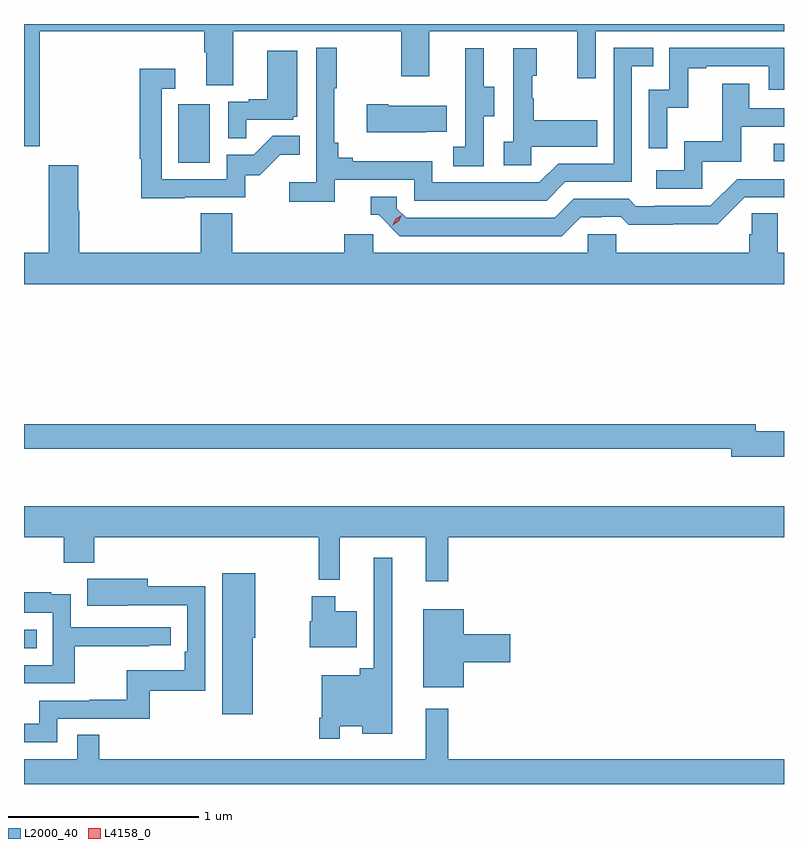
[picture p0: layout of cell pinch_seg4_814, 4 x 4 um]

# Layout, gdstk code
import gdstk
lib = gdstk.Library(unit=1e-6, precision=1e-09)
def R(c, l, rs):  # rectangles x0, y0, x1, y1
    for r in rs: c.add(gdstk.rectangle(r[:2], r[2:], *l))
def P(c, l, *ps):  # polygons
    for p in ps: c.add(gdstk.Polygon(p, *l))
L2000_40 = (2000, 40)
L4158_0 = (4158, 0)

pinch_seg4_814 = lib.new_cell('pinch_seg4_814')
R(pinch_seg4_814, L2000_40, [(803.423,802.896,803.489,802.992), (804.236,805.452,804.4,805.759), (807.369,805.458,807.423,805.551)])
P(pinch_seg4_814, L2000_40, [(803.506,806.144),(804.371,806.144),(804.371,806.032),(804.383,806.032),(804.383,805.858),(804.523,805.858),(804.523,806.144),(805.408,806.144),(805.408,805.905),(805.555,805.905),(805.555,806.144),(806.336,806.144),(806.336,805.896),(806.433,805.896),(806.433,806.144),(807.423,806.144),(807.423,806.181),(803.423,806.181),(803.423,805.538),(803.506,805.538)],
  [(805.058,805.362),(805.476,805.362),(805.476,805.251),(806.173,805.251),(806.272,805.35),(806.622,805.35),(806.622,805.959),(806.735,805.959),(806.735,806.055),(806.526,806.055),(806.526,805.446),(806.235,805.446),(806.136,805.347),(805.572,805.347),(805.572,805.459),(805.153,805.459),(805.153,805.478),(805.076,805.478),(805.076,805.555),(805.057,805.555),(805.057,805.843),(805.069,805.843),(805.069,806.056),(804.96,806.056),(804.96,805.348),(804.819,805.348),(804.819,805.246),(805.058,805.246)],
  [(806.808,805.739),(806.918,805.739),(806.918,805.947),(807.013,805.947),(807.013,805.959),(807.342,805.959),(807.342,805.836),(807.423,805.836),(807.423,806.055),(806.82,806.055),(806.82,805.836),(806.712,805.836),(806.712,805.527),(806.808,805.527)],
  [(806.094,805.535),(806.441,805.535),(806.441,805.675),(806.107,805.675),(806.107,805.79),(806.097,805.79),(806.097,805.908),(806.122,805.908),(806.122,806.053),(805.998,806.053),(805.998,805.562),(805.947,805.562),(805.947,805.437),(806.094,805.437)],
  [(805.842,805.696),(805.897,805.696),(805.897,805.851),(805.843,805.851),(805.843,806.053),(805.745,806.053),(805.745,805.839),(805.746,805.839),(805.746,805.535),(805.683,805.535),(805.683,805.432),(805.842,805.432)],
  [(804.593,805.677),(804.84,805.677),(804.84,805.692),(804.862,805.692),(804.862,806.041),(804.704,806.041),(804.704,805.786),(804.605,805.786),(804.605,805.773),(804.498,805.773),(804.498,805.579),(804.593,805.579)],
  [(804.269,805.269),(804.588,805.269),(804.588,805.386),(804.664,805.386),(804.771,805.493),(804.875,805.493),(804.875,805.592),(804.731,805.592),(804.633,805.494),(804.489,805.494),(804.489,805.365),(804.147,805.365),(804.147,805.839),(804.22,805.839),(804.22,805.945),(804.031,805.945),(804.031,805.472),(804.039,805.472),(804.039,805.264),(804.269,805.264)],
  [(806.994,805.455),(807.199,805.455),(807.199,805.641),(807.423,805.641),(807.423,805.737),(807.241,805.737),(807.241,805.867),(807.097,805.867),(807.097,805.564),(806.898,805.564),(806.898,805.41),(806.751,805.41),(806.751,805.314),(806.994,805.314)],
  [(805.541,805.613),(805.649,805.613),(805.649,805.75),(805.339,805.75),(805.339,805.758),(805.227,805.758),(805.227,805.61),(805.541,805.61)],
  [(807.423,804.976),(807.39,804.976),(807.39,805.184),(807.253,805.184),(807.253,805.074),(807.239,805.074),(807.239,804.976),(806.541,804.976),(806.541,805.074),(806.391,805.074),(806.391,804.976),(805.26,804.976),(805.26,805.074),(805.109,805.074),(805.109,804.976),(804.518,804.976),(804.518,805.184),(804.353,805.184),(804.353,804.976),(803.714,804.976),(803.714,805.199),(803.709,805.199),(803.709,805.438),(803.554,805.438),(803.554,804.976),(803.423,804.976),(803.423,804.812),(807.423,804.812)],
  [(806.353,805.164),(806.46,805.164),(806.46,805.167),(806.563,805.167),(806.605,805.125),(806.838,805.125),(806.838,805.127),(807.074,805.127),(807.216,805.269),(807.423,805.269),(807.423,805.365),(807.177,805.365),(807.036,805.224),(806.743,805.224),(806.743,805.221),(806.644,805.221),(806.605,805.26),(806.316,805.26),(806.217,805.161),(805.434,805.161),(805.386,805.209),(805.386,805.272),(805.247,805.272),(805.247,805.176),(805.29,805.176),(805.401,805.065),(806.254,805.065)],
  [(807.423,804.038),(807.274,804.038),(807.274,804.074),(803.423,804.074),(803.423,803.946),(807.146,803.946),(807.146,803.903),(807.423,803.903)],
  [(805.655,803.48),(807.423,803.48),(807.423,803.644),(803.423,803.644),(803.423,803.48),(803.632,803.48),(803.632,803.345),(803.792,803.345),(803.792,803.48),(804.975,803.48),(804.975,803.255),(805.085,803.255),(805.085,803.48),(805.538,803.48),(805.538,803.247),(805.655,803.247)],
  [(805.086,802.484),(805.202,802.484),(805.202,802.445),(805.36,802.445),(805.36,803.371),(805.263,803.371),(805.263,802.789),(805.19,802.789),(805.19,802.753),(804.99,802.753),(804.99,802.531),(804.978,802.531),(804.978,802.419),(805.086,802.419)],
  [(804.628,802.95),(804.64,802.95),(804.64,803.29),(804.467,803.29),(804.467,802.548),(804.628,802.548)],
  [(803.598,802.524),(804.085,802.524),(804.085,802.671),(804.378,802.671),(804.378,803.222),(804.073,803.222),(804.073,803.26),(803.755,803.26),(803.755,803.12),(803.969,803.12),(803.969,803.121),(804.282,803.121),(804.282,802.876),(804.269,802.876),(804.269,802.78),(803.964,802.78),(803.964,802.625),(803.767,802.625),(803.767,802.62),(803.502,802.62),(803.502,802.497),(803.423,802.497),(803.423,802.401),(803.598,802.401)],
  [(803.69,802.906),(804.083,802.906),(804.083,802.911),(804.196,802.911),(804.196,803.007),(803.67,803.007),(803.67,803.179),(803.567,803.179),(803.567,803.191),(803.423,803.191),(803.423,803.082),(803.574,803.082),(803.574,802.806),(803.423,802.806),(803.423,802.71),(803.69,802.71)],
  [(805.174,803.089),(805.06,803.089),(805.06,803.17),(804.938,803.17),(804.938,803.037),(804.926,803.037),(804.926,802.901),(805.174,802.901)],
  [(805.738,802.823),(805.981,802.823),(805.981,802.97),(805.738,802.97),(805.738,803.101),(805.523,803.101),(805.523,802.691),(805.738,802.691)],
  [(807.423,802.312),(805.655,802.312),(805.655,802.576),(805.538,802.576),(805.538,802.312),(803.819,802.312),(803.819,802.439),(803.703,802.439),(803.703,802.312),(803.423,802.312),(803.423,802.181),(807.423,802.181)])
P(pinch_seg4_814, L4158_0, [(805.364,805.122),(805.364,805.122),(805.38,805.155),(805.41,805.174),(805.411,805.174),(805.411,805.174),(805.395,805.142),(805.364,805.122)])

lib.write_gds('pinch_seg4_814.gds')
